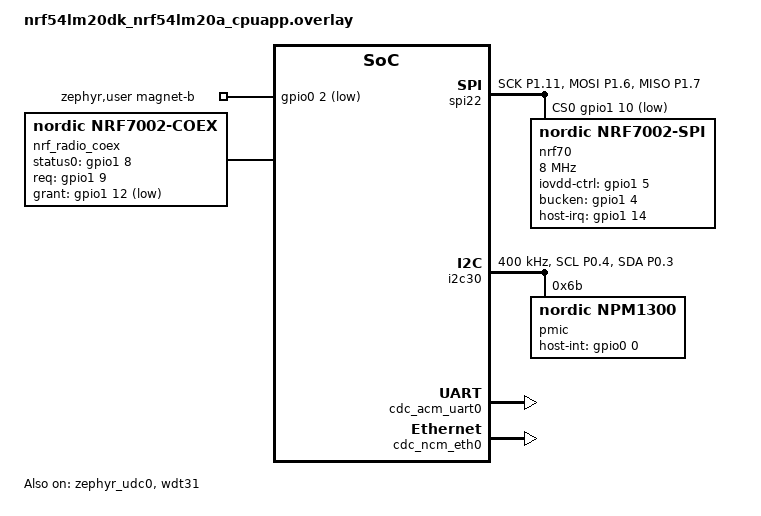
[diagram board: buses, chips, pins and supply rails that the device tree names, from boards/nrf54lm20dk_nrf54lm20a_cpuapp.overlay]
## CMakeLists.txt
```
# NIC-Strelka — Povodok's firmware: an nRF Connect SDK project on Zephyr, built with sysbuild for
# the nRF54LM20-DK, MCUboot beside it (FIRMWARE.md, The platform):
#
#     west build -b nrf54lm20dk/nrf54lm20a/cpuapp --sysbuild firmware/povodok
#
# Built against nRF Connect SDK v3.4.0 with Zephyr SDK 1.0.1, MCUboot beside it; not run on
# hardware: the kit decides it (../README.md).
cmake_minimum_required(VERSION 3.20.0)
# the shared Kconfig first, the unit's own after it, so that the unit's values win; a file given
# by -D<project>_EXTRA_CONF_FILE comes after both
set(CONF_FILE ${CMAKE_CURRENT_LIST_DIR}/../shared/common.conf ${CMAKE_CURRENT_LIST_DIR}/prj.conf)
find_package(Zephyr REQUIRED HINTS $ENV{ZEPHYR_BASE})
project(strelka_povodok LANGUAGES C)

set(COMMON ${CMAKE_CURRENT_LIST_DIR}/../common)
set(SHARED ${CMAKE_CURRENT_LIST_DIR}/../shared)
target_sources(app PRIVATE
  src/main.c
  ${SHARED}/clock.c
  ${SHARED}/crypto_psa.c
  ${SHARED}/light.c
  ${SHARED}/magnet.c
  ${SHARED}/usb.c
  ${SHARED}/gauge.c
  ${SHARED}/store.c
  ${SHARED}/pmic.c
  ${SHARED}/power.c
  ${SHARED}/strelka_mgmt_zephyr.c
  ${SHARED}/smp_tcp.c
  ${SHARED}/live_udp.c
  ${SHARED}/phone_net.c
  ${SHARED}/ble_prov.c
  ${COMMON}/crc32.c
  ${COMMON}/frame.c
  ${COMMON}/povodok_link.c
  ${COMMON}/live_msg.c
  ${COMMON}/frag.c
  ${COMMON}/smp.c
  ${COMMON}/strelka_mgmt.c
  ${COMMON}/fetch.c
  ${COMMON}/quat.c
  ${COMMON}/loop.c
)
target_include_directories(app PRIVATE src ${SHARED} ${COMMON})
# the fuel gauge's cell model: the SDK sample's, until the cell is profiled (shared/gauge.h)
target_include_directories(app PRIVATE ${ZEPHYR_NRF_MODULE_DIR}/samples/pmic/native/npm13xx_fuel_gauge/src)
```

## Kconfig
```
# NIC-Strelka — Povodok's own configuration options, beside Zephyr's
mainmenu "NIC-Strelka Povodok"

config STRELKA_FACTORY_PASSWORD
	string "the lock's password at the factory settings"
	default "strelka1"
	help
	  The application's password, eight characters at least (COMMANDS.md, The lock), as a
	  unit has it from the factory and after the factory settings, until the application
	  changes it by 64/17. The build's own choice; the firmware's default is provisional.

config STRELKA_CELL_EMPTY_MV
	int "The cell's end voltage, mV"
	default 3300
	help
	  Under it for ten seconds running, the unit goes off: a Li-ion or Li-poly cell at 3,30 V
	  until Povodok's cell is chosen. The fuel gauge's 0 % is not trusted until the cell's own
	  model is made (FIRMWARE.md, The PMIC).

source "Kconfig.zephyr"
```

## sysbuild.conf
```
# NIC-Strelka — sysbuild: MCUboot as the boot loader, two image slots, the images signed with the
# maker's key, which is not in the repository — given at the build:
#     west build ... -- -DSB_CONFIG_BOOT_SIGNATURE_KEY_FILE=\"/path/to/strelka.pem\"
SB_CONFIG_BOOTLOADER_MCUBOOT=y
SB_CONFIG_MCUBOOT_MODE_SWAP_USING_MOVE=y
SB_CONFIG_BOOT_SIGNATURE_TYPE_ED25519=y
```

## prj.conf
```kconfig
# NIC-Strelka — Povodok's own Zephyr configuration; what both units share is
# ../shared/common.conf (FIRMWARE.md). Built against nRF Connect SDK v3.4.0; not run on hardware.

# the Wi-Fi: the nRF7002 inside the WM02C20C, a station at 5 GHz, clear of the set's band;
# coexistence with the radio on the module's pins (FIRMWARE.md, The pins)
CONFIG_WIFI=y
CONFIG_WIFI_NRF70=y
CONFIG_NRF70_STA_MODE=y
CONFIG_NRF70_SR_COEX=y
CONFIG_WIFI_NM_WPA_SUPPLICANT=y
CONFIG_NET_L2_WIFI_MGMT=y
CONFIG_NET_L2_ETHERNET_MGMT=y
CONFIG_WIFI_CREDENTIALS=y
CONFIG_WIFI_CREDENTIALS_CONNECT_STORED=y
CONFIG_NET_MGMT_EVENT_INFO=y
CONFIG_NRF70_RX_NUM_BUFS=16
CONFIG_NRF_WIFI_CTRL_HEAP_SIZE=20000
CONFIG_NRF_WIFI_DATA_HEAP_SIZE=40000

# TCP/IP to the application, over the Wi-Fi and over USB alike (PHONE.md)
CONFIG_NETWORKING=y
CONFIG_NET_L2_ETHERNET=y
CONFIG_NET_IPV4=y
CONFIG_NET_IPV6=n
CONFIG_NET_TCP=y
# a peer gone without a FIN found by keep-alive, its connection's slot freed (shared/smp_tcp.c)
CONFIG_NET_TCP_KEEPALIVE=y
CONFIG_NET_UDP=y
CONFIG_NET_SOCKETS=y
CONFIG_NET_DHCPV4=y
CONFIG_NET_DHCPV4_SERVER=y
# found on the network by name, as printers are: mDNS and DNS-SD, the service _strelka._tcp on
# 1337, the instance named by the set and the number (PHONE.md, The link)
CONFIG_MDNS_RESPONDER=y
CONFIG_DNS_SD=y
CONFIG_NET_HOSTNAME_ENABLE=y
CONFIG_NET_HOSTNAME="strelka"
CONFIG_NET_HOSTNAME_UNIQUE=y
CONFIG_NET_CONNECTION_MANAGER=y
CONFIG_NET_MGMT=y
CONFIG_NET_MGMT_EVENT=y
CONFIG_NET_PKT_RX_COUNT=16
CONFIG_NET_PKT_TX_COUNT=16
CONFIG_NET_BUF_RX_COUNT=32
CONFIG_NET_BUF_TX_COUNT=32
# SMP over TCP: a listening socket for Povodok's own port and one for each Belka taken, up to
# 63, and eight connections at once (shared/smp_tcp.c)
CONFIG_NET_MAX_CONN=128
CONFIG_NET_MAX_CONTEXTS=128
CONFIG_ZVFS_OPEN_MAX=128
CONFIG_ZVFS_POLL_MAX=128
CONFIG_MCUMGR_TRANSPORT_NETBUF_COUNT=4

# the phone's USB: a network adapter, CDC-NCM, beside the serial port (FIRMWARE.md, USB)
CONFIG_USBD_CDC_NCM_CLASS=y

# Bluetooth LE in the first minutes after it is switched on alone, to receive the network's name
# and password, then off before ESB and the frame take the radio (FIRMWARE.md, The platform)
CONFIG_BT=y
CONFIG_BT_PERIPHERAL=y
CONFIG_BT_DEVICE_NAME="Strelka Povodok"
CONFIG_BT_SMP=y
CONFIG_BT_MAX_CONN=1
# a name and a password of 64 B each in one write: the ATT MTU past the default 23
CONFIG_BT_L2CAP_TX_MTU=247
CONFIG_BT_BUF_ACL_RX_SIZE=251
# MPSL whole for the controller, uninitialised by bt_disable(), so that the radio, TIMER10 and
# what else MPSL holds are free for ESB and the frame (FIRMWARE.md, The platform)
CONFIG_MPSL=y
CONFIG_MPSL_DYNAMIC_INTERRUPTS=y
CONFIG_BT_UNINIT_MPSL_ON_DISABLE=y

# the heap and the stacks for the network stacks
CONFIG_HEAP_MEM_POOL_SIZE=65536
CONFIG_MAIN_STACK_SIZE=8192
CONFIG_NET_TX_STACK_SIZE=4096
CONFIG_NET_RX_STACK_SIZE=4096
```

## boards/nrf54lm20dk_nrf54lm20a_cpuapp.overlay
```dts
/* NIC-Strelka — Povodok's pins on the nRF54LM20A, as FIRMWARE.md (The pins) and BOARD.md give
 * them: the board's own pins as the Belka's, and the WM02C20C's nRF7002 on P1.04–P1.14 inside
 * the module, as Fanstel's example wires it — the nRF54L15 DK's pinout, which the kit's own Wi-Fi
 * shield, the nRF7002-EB II, does not use, so the shield is repinned here. The node names follow
 * the SDK's shield file for the nRF7002-EB II. Built against nRF Connect SDK v3.4.0; not run on
 * hardware: the kit decides it.
 */

#include <zephyr/dt-bindings/gpio/nordic-nrf-gpio.h>

/ {
	chosen {
		zephyr,console = &cdc_acm_uart0;
		zephyr,shell-uart = &cdc_acm_uart0;
		zephyr,uart-mcumgr = &cdc_acm_uart0;
		zephyr,wifi = &wlan0;
	};

	aliases {
		watchdog0 = &wdt31;
	};

	zephyr,user {
		magnet-b-gpios = <&gpio0 2 (GPIO_ACTIVE_LOW | GPIO_PULL_UP)>;
	};

	/* the radio and the Wi-Fi sharing the air: the nRF7002's coexistence pins, as the SDK's
	 * shield nrf7002eb2 names them; status 1, P1.13, the SDK's driver does not read */
	nrf_radio_coex: coex {
		compatible = "nordic,nrf7002-coex";
		status = "okay";
		status0-gpios = <&gpio1 8 GPIO_ACTIVE_HIGH>;
		req-gpios = <&gpio1 9 GPIO_ACTIVE_HIGH>;
		grant-gpios = <&gpio1 12 (GPIO_PULL_DOWN | GPIO_ACTIVE_LOW)>;
	};
};

&pinctrl {
	/* the Wi-Fi: SPIM22 on P1.11 SCK, P1.06 MOSI, P1.07 MISO; CS P1.10 */
	spi22_default: spi22_default {
		group1 {
			psels = <NRF_PSEL(SPIM_SCK, 1, 11)>, <NRF_PSEL(SPIM_MOSI, 1, 6)>,
				<NRF_PSEL(SPIM_MISO, 1, 7)>;
		};
	};
	spi22_sleep: spi22_sleep {
		group1 {
			psels = <NRF_PSEL(SPIM_SCK, 1, 11)>, <NRF_PSEL(SPIM_MOSI, 1, 6)>,
				<NRF_PSEL(SPIM_MISO, 1, 7)>;
			low-power-enable;
		};
	};
	/* the PMIC: TWIM30 on P0.04 SCL, P0.03 SDA */
	i2c30_default: i2c30_default {
		group1 {
			psels = <NRF_PSEL(TWIM_SCL, 0, 4)>, <NRF_PSEL(TWIM_SDA, 0, 3)>;
		};
	};
	i2c30_sleep: i2c30_sleep {
		group1 {
			psels = <NRF_PSEL(TWIM_SCL, 0, 4)>, <NRF_PSEL(TWIM_SDA, 0, 3)>;
			low-power-enable;
		};
	};
};

&spi22 {
	status = "okay";
	pinctrl-0 = <&spi22_default>;
	pinctrl-1 = <&spi22_sleep>;
	pinctrl-names = "default", "sleep";
	cs-gpios = <&gpio1 10 GPIO_ACTIVE_LOW>;

	nrf70: nrf7002-spi@0 {
		compatible = "nordic,nrf7002-spi";
		status = "okay";
		reg = <0>;
		spi-max-frequency = <8000000>;
		iovdd-ctrl-gpios = <&gpio1 5 GPIO_ACTIVE_HIGH>;   /* the module's TCK127BG */
		bucken-gpios = <&gpio1 4 GPIO_ACTIVE_HIGH>;
		host-irq-gpios = <&gpio1 14 GPIO_ACTIVE_HIGH>;
		/* the powers the SDK's shield names, which the binding requires; the set's band is
		 * the radio's, the Wi-Fi at 5 GHz (FIRMWARE.md, The platform) */
		wifi-max-tx-pwr-2g-dsss = <21>;
		wifi-max-tx-pwr-2g-mcs0 = <16>;
		wifi-max-tx-pwr-2g-mcs7 = <16>;
		wifi-max-tx-pwr-5g-low-mcs0 = <13>;
		wifi-max-tx-pwr-5g-low-mcs7 = <13>;
		wifi-max-tx-pwr-5g-mid-mcs0 = <13>;
		wifi-max-tx-pwr-5g-mid-mcs7 = <13>;
		wifi-max-tx-pwr-5g-high-mcs0 = <12>;
		wifi-max-tx-pwr-5g-high-mcs7 = <12>;

		wlan0: wlan0 {
			compatible = "nordic,wlan";
		};
	};
};

&i2c30 {
	status = "okay";
	pinctrl-0 = <&i2c30_default>;
	pinctrl-1 = <&i2c30_sleep>;
	pinctrl-names = "default", "sleep";
	clock-frequency = <I2C_BITRATE_FAST>;

	/* the PMIC, Nordic's nPM1300 at 0x6B, its interrupt from GPIO0 to P0.00; its bucks unused
	 * on this board, VSET grounded; the long press of SHPHLD, magnet A, left as reset, 10 s to a
	 * power cycle (FIRMWARE.md, The PMIC; BOARD.md, U2) */
	pmic: pmic@6b {
		compatible = "nordic,npm1300";
		reg = <0x6b>;
		host-int-gpios = <&gpio0 0 GPIO_ACTIVE_HIGH>;
		pmic-int-pin = <0>;

		/* a Li-ion cell to 4,00 V, some 80 %; 200 mA until its cell is chosen; the USB input
		 * 1,5 A, the Wi-Fi's peaks and the charge within it */
		pmic_charger: charger {
			compatible = "nordic,npm1300-charger";
			term-microvolt = <4000000>;
			current-microamp = <200000>;
			dischg-limit-microamp = <1000000>;
			vbus-limit-microamp = <1500000>;
			thermistor-ohms = <10000>;
			thermistor-beta = <3380>;
			thermistor-cold-millidegrees = <0>;
			thermistor-cool-millidegrees = <10000>;
			thermistor-warm-millidegrees = <40000>;
			thermistor-hot-millidegrees = <45000>;
			charging-enable;
		};

		/* the regulators' parent, for ship mode alone */
		pmic_regulators: regulators {
			compatible = "nordic,npm1300-regulator";
		};
	};
};

/* the 32 MHz crystal's load at 14,5 pF on the module's board, the kit's 15 pF on the kit: as in
 * the Belka's overlay, commented out here */

/* USB: the serial port for the console and MCUboot's door, and the network adapter, CDC-NCM,
 * TCP/IP over it to the application as over the Wi-Fi (FIRMWARE.md, USB; PHONE.md) */
&zephyr_udc0 {
	status = "okay";

	cdc_acm_uart0: cdc_acm_uart0 {
		compatible = "zephyr,cdc-acm-uart";
	};

	cdc_ncm_eth0: cdc_ncm_eth0 {
		compatible = "zephyr,cdc-ncm-ethernet";
		/* the host's side of the link, as Zephyr's samples set it; the unit's own address
		 * and its bits are an open question (STATUS.md) */
		remote-mac-address = "00005E005301";
	};
};

/* the kit's console UART, uart20, is SERIAL20, the card's SPIM20's own instance: on the kit the
 * console is the USB port alone */
&uart20 {
	status = "disabled";
};

/* the kit's own SPI00 (P3.00, P3.01, P3.03) and PWM20 (P3.04) would take the pins of CLKIN, INT1
 * and both SCKs at their drivers' start: off */
&spi00 {
	status = "disabled";
};

&pwm20 {
	status = "disabled";
};

&wdt31 {
	status = "okay";
};

&gpio0 {
	status = "okay";
};

&gpio1 {
	status = "okay";
};
```

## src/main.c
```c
/* NIC-Strelka — Povodok: it commands the set, gathers it and talks to the phone (FIRMWARE.md).
 * The skeleton with the phone's side on it: the PMIC and the power, the light, the magnets, USB, the
 * clock for the set's grid; SMP over TCP on 1337 and 1337 + n with the lock on every connection
 * (shared/smp_tcp.c) and Strelka's group 64 (common/strelka_mgmt.c), its commands acting on the
 * link's logic (common/povodok_link.c) and on the settings kept across power-ons. The radio
 * itself — the SYNCs on the air, ESB to the Belkas — is shared/link.h, not written: the kit
 * decides it first, so what goes to the Belkas (the session, the table, the taking) waits here,
 * a Belka's port answers "out of reach", and the live view's messages (shared/live_udp.c) wait
 * for the link to call povodok_period_done. The phone's way in is shared/phone_net.c — the USB
 * network adapter with DHCP for the phone, the Wi-Fi joined with the name and password that
 * Bluetooth LE brought in the first minutes (shared/ble_prov.c). Built against nRF Connect SDK
 * v3.4.0, not run on hardware. */
#include <stdio.h>
#include <string.h>
#include <zephyr/dfu/mcuboot.h>
#include <zephyr/kernel.h>
#include <zephyr/drivers/hwinfo.h>
#include <zephyr/drivers/watchdog.h>
#include <zephyr/sys/reboot.h>
#include <zephyr/logging/log.h>
#include <zephyr/net/dns_sd.h>
#include "ble_prov.h"
#include "clock.h"
#include "crypto.h"
#include "gauge.h"
#include "light.h"
#include "pmic.h"
#include "power.h"
#include "link.h"
#include "live_msg.h"
#include "live_udp.h"
#include "magnet.h"
#include "phone_net.h"
#include "fetch.h"
#include "povodok_link.h"
#include "protocol.h"
#include "smp_tcp.h"
#include "store.h"
#include "strelka_mgmt_zephyr.h"
#include "usb.h"

LOG_MODULE_REGISTER(povodok, LOG_LEVEL_INF);

#define TABLE_MAX 4096                     /* the set's table's text held for the Belkas */

static uint64_t chip_id;
/* the set, the number 0–3 (0 the first by design), the password's hash and the gauge's
 * state: store.h's, kept across power-ons */
static uint8_t password_hash[32];          /* the kept one, or the factory's */

/* found on the network by name, as printers are (PHONE.md, The link): the service _strelka._tcp
 * on 1337, the instance "Strelka A1B2C3D4 P1" — the set's address and the Povodok's number from 1,
 * as written on its box — so that the application finds every Povodok of its set, the network's
 * way of gathering among them, without searching the addresses */
static char sd_instance[40] = "Strelka";
/* the service mode, from every start until the application's 64/20: Bluetooth LE on for the
 * network, the set's setting allowed; out of it, Bluetooth LE off and every setting refused with 6,
 * until the unit is switched off and on (FIRMWARE.md, The service mode) */
static bool service = true;
DNS_SD_REGISTER_TCP_SERVICE(strelka_sd, sd_instance, "_strelka", "local", DNS_SD_EMPTY_TXT,
			    SMP_PORT);
static struct povodok_link link;
static struct strelka_session session;     /* 64/1, to go to every Belka by the link */
static uint8_t table[TABLE_MAX];
static uint32_t table_len;
static bool measuring;                     /* the SYNC's state, bit 15: the record runs */

/* ---- the light's blink and the delayed deeds ------------------------------------------------ */

/* the standing pattern: Povodok's own, green and red in turn, the cell low off the cable; on the
 * cable the PMIC's only while it charges or its charger is at fault (FIRMWARE.md, The magnets and
 * the light) */
static enum light standing_light(void)
{
	switch (pmic_charge()) {
	case PMIC_CHARGING:
	case PMIC_CHARGE_FAULT:
		return LIGHT_CHARGER;
	case PMIC_OFF_CABLE:
		return gauge_pct() < 20 && gauge_present() ? LIGHT_RED_BLINK : LIGHT_GREEN_RED;
	default:
		return LIGHT_GREEN_RED;
	}
}

static void blink_over(struct k_work *w)
{
	ARG_UNUSED(w);
	light_set(standing_light());
}
static K_WORK_DELAYABLE_DEFINE(blink_work, blink_over);

static volatile bool go_off;

static void off_now(struct k_work *w)
{
	ARG_UNUSED(w);
	go_off = true;           /* main's thread takes it, off the system work queue */
}
static K_WORK_DELAYABLE_DEFINE(off_work, off_now);

/* the restart after the factory settings, or after a set given: the unit stays on (power.h) */
static bool factory_restart;

static void reboot_now(struct k_work *w)
{
	ARG_UNUSED(w);
	power_restart(factory_restart);
}
static K_WORK_DELAYABLE_DEFINE(reboot_work, reboot_now);

/* ---- the record's state, from the magnets and from the application --------------------------- */

static void set_record(bool run)
{
	if (run == measuring) {
		return;
	}
	measuring = run;
	povodok_link_record(&link, run);
	light_flash(run ? COLOUR_GREEN : COLOUR_RED, 2000);
}

/* ---- the live view to the phone, a message a period (PHONE.md) ------------------------------ */

/* the link calls it after the PASSes of a period, the gathering whole; one message or two */
void povodok_period_done(void)
{
	static struct live_msg msgs[LIVE_MSG_MESSAGES];
	unsigned n;

	if (service) {
		return;                          /* the live view is the work's, not the service's */
	}
	n = live_msg_from_link(&link, session.s, msgs);

	for (unsigned i = 0; i < n; i++) {
		live_udp_send(msgs[i].bytes, msgs[i].len);
	}
}

/* ---- Strelka's group 64, Povodok's side (COMMANDS.md) --------------------------------------- */

static int op_info(struct strelka_info *out, void *ctx)
{
	ARG_UNUSED(ctx);
	out->chip = chip_id;
	out->n = store.number;
	out->who = WHO_POVODOK;
	out->label = store.label;
	out->fw[0] = STRELKA_FW_MAJOR;
	out->fw[1] = STRELKA_FW_MINOR;
	out->fw[2] = STRELKA_FW_PATCH;
	out->cell_pct = gauge_pct();
	out->cell_mv = gauge_mv();
	out->temp_centi = gauge_temp_centi();
	out->state = measuring ? BELKA_RECORDING : BELKA_WAITING;
	return 0;
}

static int op_session(const struct strelka_session *s, void *ctx)
{
	ARG_UNUSED(ctx);
	if (measuring) {
		return SMP_ERR_BAD_STATE;        /* not while the set records */
	}
	session = *s;
	povodok_link_live(&link, service ? S0_LIVE_OFF : s->live);   /* on at 64/20 */
	/* the three ways of gathering (PRINCIPLE.md): by the set's radio, or by the network, every
	 * Povodok sending the application what it heard itself */
	povodok_link_gather(&link, s->net);
	povodok_link_units(&link, s->units_given ? s->units : NULL);
	/* with the period of the instant t, to every Belka by the link: to come */
	return 0;
}

static int op_blink(uint32_t seconds, void *ctx)
{
	ARG_UNUSED(ctx);
	if (seconds == 0) {
		k_work_cancel_delayable(&blink_work);
		light_set(standing_light());
		return 0;
	}
	light_set(LIGHT_ORANGE_FAST);
	k_work_reschedule(&blink_work, K_SECONDS(seconds));
	return 0;
}

static int op_off(void *ctx)
{
	ARG_UNUSED(ctx);
	/* recording, the set is stopped first — five SYNCs saying so — then off; the answer leaves
	 * before the board goes dark */
	set_record(false);
	k_work_reschedule(&off_work, K_MSEC(500));
	return 0;
}

/* 64/19: the set given to this Povodok by the application, its key opened under the write's own
 * lock (common/strelka_mgmt.c): kept, and the unit started again on it */
static int op_give(const struct strelka_give *g, void *ctx)
{
	struct store_set set = {
		.address = (uint32_t)g->addr[0] | (uint32_t)g->addr[1] << 8 |
			   (uint32_t)g->addr[2] << 16 | (uint32_t)g->addr[3] << 24,
		.channel = g->ch,
	};
	int rc;

	ARG_UNUSED(ctx);
	if (!service) {
		return SMP_ERR_BAD_STATE;        /* a setting: the service mode's alone */
	}
	if (measuring) {
		return SMP_ERR_BAD_STATE;        /* not while the set records */
	}
	memcpy(set.key, g->key, sizeof(set.key));
	rc = store_join(&set, g->n);
	if (rc == 0) {
		rc = store_label(g->label);
	}
	memset(&set, 0, sizeof(set));
	if (rc) {
		return SMP_ERR_UNKNOWN;
	}
	k_work_reschedule(&reboot_work, K_MSEC(500));
	return 0;
}

static int op_forget(void *ctx)
{
	ARG_UNUSED(ctx);
	if (!service) {
		return SMP_ERR_BAD_STATE;        /* a setting: the service mode's alone */
	}
	store_forget();                  /* the factory's password again */
	phone_net_forget();              /* the network's name and password */
	factory_restart = true;
	k_work_reschedule(&reboot_work, K_MSEC(2000));   /* after the orange's 2 s */
	return 0;
}

static struct fetch fetch;              /* 64/21's download, below */

/* the set on ESB or about to be: a download running, or its SYNCs not back yet */
static bool on_esb(void)
{
	return (fetch.on && !fetch_done(&fetch)) || link.awake || link.announcing || link.esb;
}

static int op_record(bool run, void *ctx)
{
	ARG_UNUSED(ctx);
	if (run && service) {
		return SMP_ERR_BAD_STATE;        /* the record is the work's: 64/20 first */
	}
	if (run && on_esb()) {
		return SMP_ERR_BAD_STATE;        /* the download out, the SYNCs back first */
	}
	set_record(run);
	return 0;
}

static int op_live(uint8_t code, void *ctx)
{
	ARG_UNUSED(ctx);
	if (code != S0_LIVE_OFF && service) {
		return SMP_ERR_BAD_STATE;        /* the live view is the work's: 64/20 first */
	}
	if (code != S0_LIVE_OFF && on_esb()) {
		return SMP_ERR_BAD_STATE;        /* the download out, the SYNCs back first */
	}
	session.live = code;
	povodok_link_live(&link, code);
	return 0;
}

static int op_search(bool run, void *ctx)
{
	ARG_UNUSED(ctx);
	if (!service) {
		return SMP_ERR_BAD_STATE;        /* a setting: the service mode's alone */
	}
	if (run && measuring) {
		return SMP_ERR_BAD_STATE;        /* searching, the first sends CALLs, no SYNCs */
	}
	povodok_link_search(&link, run);
	return 0;
}

static int op_found(struct strelka_found *list, unsigned max, unsigned *n, void *ctx)
{
	ARG_UNUSED(ctx);
	*n = 0;
	for (unsigned i = 0; i < link.found_n && *n < max; i++) {
		list[*n].chip = link.found[i].chip;
		list[*n].rssi = link.found[i].rssi;
		list[*n].ago_s = (link.period - link.found[i].period) / STRELKA_PERIODS_A_S;
		(*n)++;
	}
	return 0;
}

static int op_take(uint64_t chip, uint8_t n, void *ctx)
{
	ARG_UNUSED(ctx);
	if (!service) {
		return SMP_ERR_BAD_STATE;        /* a setting: the service mode's alone */
	}
	if (n < 1 || n > STRELKA_BELKAS_MAX ||
	    (link.belka[n].taken && link.belka[n].chip != chip)) {
		return SMP_ERR_INVAL;            /* a number is one unit's in the set, of any kind */
	}
	for (unsigned i = 0; i < link.found_n; i++) {
		if (link.found[i].chip == chip) {
			/* heard: the key agreed and the set given by SMP over ESB, 64/8 and 64/9 —
			 * the link's, to come; until then the Belka is out of reach */
			return STRELKA_RC(STRELKA_ERR_UNREACHABLE);
		}
	}
	return SMP_ERR_NOENT;
}

static int op_set(struct strelka_set *out, void *ctx)
{
	ARG_UNUSED(ctx);
	out->n = 0;
	for (unsigned k = 1; k <= STRELKA_BELKAS_MAX; k++) {
		const struct povodok_belka *b = &link.belka[k];
		struct strelka_set_belka *o = &out->belka[out->n];

		if (!b->taken) {
			continue;
		}
		o->n = (uint8_t)k;
		o->chip = b->chip;
		o->ago = link.period > b->last_period ? link.period - b->last_period : 0;
		o->by = b->by;
		if (b->item_known[ITEM_STATE]) {
			o->state = ITEM_HIGH(b->item[ITEM_STATE]);
			o->fault = ITEM_LOW(b->item[ITEM_STATE]);
		}
		o->rc_known = false;             /* 64/1's answers come with the frames over ESB */
		o->esb = povodok_link_esb_povodok(&link, (uint8_t)k);
		o->esb_known = o->esb != 0xFF;
		out->n++;
	}
	out->povodoks = (uint8_t)(1u << store.number);
	for (unsigned k = 0; k < STRELKA_POVODOKS_MAX; k++) {
		if (link.povodok_known[k] && link.tick - link.povodok_heard_tick[k] < LINK_PERIODS_A_S) {
			out->povodoks |= (uint8_t)(1u << k);
		}
	}
	out->ch = link.cfg.channel;
	out->spare = link.spare;
	return 0;
}

/* 64/21: the session from the Belkas, Povodok going round them over ESB, those answering on its
 * channel its own (common/fetch.c); the requests and the download's port, 1401, the link's, to
 * come with SMP over ESB */
static int op_fetch(const struct strelka_fetch *f, void *ctx)
{
	uint8_t every[STRELKA_BELKAS_MAX];
	unsigned n = 0;

	ARG_UNUSED(ctx);
	if (link.record || link.live_code != S0_LIVE_OFF) {
		return SMP_ERR_BAD_STATE;        /* ESB only while the set neither records nor shows */
	}
	if (fetch.on && !fetch_done(&fetch)) {
		return SMP_ERR_BUSY;             /* a download running */
	}
	if (f->n) {
		fetch_begin(&fetch, f->s, f->belka, f->from, f->n);
		return 0;
	}
	for (unsigned k = 1; k <= STRELKA_BELKAS_MAX; k++) {
		if (link.belka[k].taken) {
			every[n++] = (uint8_t)k;
		}
	}
	fetch_begin(&fetch, f->s, every, NULL, n);
	return 0;
}

/* 64/24: the set moved to a channel at the application's word, at rest alone */
static int op_move(uint8_t channel, void *ctx)
{
	ARG_UNUSED(ctx);
	if (measuring) {
		return SMP_ERR_BAD_STATE;
	}
	return povodok_link_move(&link, channel) ? SMP_ERR_INVAL : 0;
}

/* 64/23: what this Povodok knows already, of the band and of each Belka, for the diagnostics */
static int op_diag(uint32_t from, struct strelka_diag_band *band, struct strelka_diag_belka *list,
		   unsigned max, unsigned *n, bool *more, void *ctx)
{
	ARG_UNUSED(ctx);
	unsigned index = 0;

	*n = 0;
	*more = false;
	for (unsigned k = 1; k <= STRELKA_BELKAS_MAX; k++) {
		const struct povodok_belka *b = &link.belka[k];
		struct strelka_diag_belka *o;

		if (!b->taken || index++ < from) {
			continue;
		}
		if (*n == max) {
			*more = true;
			break;
		}
		o = &list[(*n)++];
		o->n = (uint8_t)k;
		o->rssi = b->rssi;
		o->ago = link.period > b->last_period ? link.period - b->last_period : 0;
		memcpy(o->item, b->item, sizeof(o->item));
		memcpy(o->known, b->item_known, sizeof(o->known));
	}
	band->ch = link.cfg.channel;
	band->spare = link.spare;
	for (unsigned k = 0; k < STRELKA_POVODOKS_MAX; k++) {
		band->margin[k] = k == store.number ? link.margin : link.margin_povodok[k];
	}
	memcpy(band->noise, link.noise_povodok, sizeof(band->noise));
	memcpy(band->bnoise, link.noise_belka, sizeof(band->bnoise));
	return 0;
}

static int op_drop(uint8_t n, void *ctx)
{
	ARG_UNUSED(ctx);
	if (!service) {
		return SMP_ERR_BAD_STATE;        /* a setting: the service mode's alone */
	}
	if (!link.belka[n].taken) {
		return SMP_ERR_NOENT;
	}
	povodok_link_drop(&link, n);
	return 0;
}

static int op_password_hash(uint8_t hash[32], void *ctx)
{
	ARG_UNUSED(ctx);
	memcpy(hash, password_hash, 32);
	return 0;
}

static int op_identity(uint8_t priv[32], void *ctx)
{
	ARG_UNUSED(ctx);
	return store_identity(priv);
}

static int op_password_set(const uint8_t hash[32], void *ctx)
{
	ARG_UNUSED(ctx);
	if (!service) {
		return SMP_ERR_BAD_STATE;        /* a setting: the service mode's alone */
	}
	memcpy(password_hash, hash, 32);
	return store_pw(hash) ? SMP_ERR_UNKNOWN : 0;
}

static int op_table(const struct strelka_table_piece *p, void *ctx)
{
	ARG_UNUSED(ctx);
	if (p->len > TABLE_MAX) {
		return SMP_ERR_TOO_LARGE;
	}
	if (p->off == 0) {
		memset(table, 0, sizeof(table));
		table_len = p->len;
	}
	memcpy(table + p->off, p->csv, p->csv_len);
	/* whole, to every Belka by the link: to come */
	return 0;
}

/* 64/20: out of the service mode — Bluetooth LE off by main's loop, the settings refused, the
 * Belkas' setting commands not bridged — until switched off and on */
static int op_work(void *ctx)
{
	ARG_UNUSED(ctx);
	if (service) {
		service = false;
		smp_tcp_service(false);
		ble_prov_stop_soon();
		povodok_link_live(&link, session.live);   /* the session's live view, if it asks one */
		LOG_INF("out of the service mode: at work");
	}
	return 0;
}

static const struct strelka_ops ops = {
	.info = op_info, .session = op_session, .blink = op_blink, .off = op_off,
	.forget = op_forget, .record = op_record, .live = op_live, .search = op_search,
	.found = op_found, .take = op_take, .set = op_set, .drop = op_drop, .diag = op_diag,
	.move = op_move,
	.password_hash = op_password_hash, .password_set = op_password_set, .table = op_table,
	.identity = op_identity,
	.give = op_give, .work = op_work, .fetch = op_fetch,
};

/* ---- the magnets ---------------------------------------------------------------------------- */

/* the factory settings by the magnets, in the service mode alone, as 64/7: 5 s of orange, fast,
 * that the hand sees the hold taken, then forgotten and started again at once */
static void factory_now(struct k_work *w)
{
	ARG_UNUSED(w);
	store_forget();
	phone_net_forget();
	factory_restart = true;
	k_work_reschedule(&reboot_work, K_NO_WAIT);
}
static K_WORK_DELAYABLE_DEFINE(factory_work, factory_now);

static void on_magnet(enum magnet_event e)
{
	switch (e) {
	case MAGNET_A_SHORT:
		light_show_cell(gauge_pct());
		break;
	case MAGNET_A_OFF:
		op_off(NULL);
		break;
	case MAGNET_FACTORY:
		if (!service) {
			light_flash(COLOUR_RED, 2000);  /* at work: switched off and on first */
			break;
		}
		light_set(LIGHT_ORANGE_FAST);
		k_work_reschedule(&factory_work, K_SECONDS(5));
		break;
	}
}

int main(void)
{
	const struct device *wdt = DEVICE_DT_GET(DT_ALIAS(watchdog0));
	struct wdt_timeout_cfg wdt_cfg = { .window.max = 5000, .flags = WDT_FLAG_RESET_SOC };
	struct povodok_link_cfg link_cfg;
	int wdt_ch;

	/* the PMIC, the settings kept and the gauge first: then whether Povodok is switched on —
	 * magnet A, or the cable — or switched off on the cable, which idles in power_start, or a
	 * magnet brushed past, which goes back into ship mode (FIRMWARE.md, The PMIC) */
	pmic_init();
	store_load();
	gauge_init(store.gauge_len ? store.gauge : NULL, store.gauge_len);
	light_init();
	power_start(true);
	hwinfo_get_device_id((uint8_t *)&chip_id, sizeof(chip_id));
	LOG_INF("Povodok, firmware %u.%u.%u, chip %016llx", STRELKA_FW_MAJOR, STRELKA_FW_MINOR,
		STRELKA_FW_PATCH, (unsigned long long)chip_id);
	if (store.pw_loaded) {
		memcpy(password_hash, store.pw, sizeof(password_hash));
	} else {
		/* the factory settings' password, the build's own, until the application changes it */
		strelka_sha256((const uint8_t *)CONFIG_STRELKA_FACTORY_PASSWORD,
			       strlen(CONFIG_STRELKA_FACTORY_PASSWORD), password_hash);
	}
	/* the name as a person reads it: the set's own number if it has one, the Povodok 1–4 —
	 * 0–3 inside — and the set's address, unique where two sets share a network */
	if (store.label) {
		snprintf(sd_instance, sizeof(sd_instance), "Strelka %u P%u %08X", store.label,
			 store.number + 1u, (unsigned int)store.set.address);
	} else {
		snprintf(sd_instance, sizeof(sd_instance), "Strelka P%u %08X", store.number + 1u,
			 (unsigned int)store.set.address);
	}
	link_cfg = (struct povodok_link_cfg){ .number = store.number,
					      .address = store.set.address,
					      .channel = store.set.channel };
	povodok_link_init(&link, &link_cfg);
	clock_init();                    /* the first Povodok's timer is the set's grid */
	usb_init();                      /* up when the stack sees VBUS: on the cable, at once */
	phone_net_init();                /* the lead's network with DHCP for the phone; the Wi-Fi kept */
	ble_prov_init();                 /* the network's name and password, the service mode */
	strelka_mgmt_zephyr_init(&ops, NULL);
	smp_tcp_init();                  /* the phone's side: 1337, and 1337 + n as Belkas are taken */
	live_udp_init();                 /* the live view to the phone, from povodok_period_done */
	magnet_init(on_magnet);
	light_set(standing_light());
	/* the watchdog last, after the start */
	wdt_ch = wdt_install_timeout(wdt, &wdt_cfg);
	wdt_setup(wdt, WDT_OPT_PAUSE_HALTED_BY_DBG);
	power_watchdog_taken();          /* fed by the loop from here; until now by power.c */
	/* a new image runs as a test until it confirms itself: the start whole and the watchdog
	 * running, it is kept; one that hangs before is taken back by MCUboot at the next reset
	 * (FIRMWARE.md, The firmware's own updates) */
	if (!boot_is_img_confirmed()) {
		boot_write_img_confirmed();
	}

	/* Povodok on its cable starts as by magnet A and runs on; off the cable it goes off 5 min
	 * after the cable left, unless the cable has come back — in its service mode with no phone
	 * joined alone, never at work nor with a phone on it, a set recording not stopped by a
	 * lead pulled out (FIRMWARE.md, The PMIC): the PMIC's VBUS says. The link's periods — povodok_link_period_begin and _end
	 * on the radio's timer — are shared/link.h's, to come */
	bool cable_seen = false;

	for (unsigned off_cable_s = 0;;) {
		bool taken[STRELKA_BELKAS_MAX + 1];
		static unsigned s;

		wdt_feed(wdt, wdt_ch);
		k_sleep(K_SECONDS(1));
		if (smp_tcp_joined()) {
			ble_prov_stop_soon();    /* a phone joined: the network given, the radio the set's */
		}
		povodok_link_downloads(&link, smp_tcp_joined());   /* the SYNC's bit 13 */
		ble_prov_poll();
		if (go_off) {
			power_off();     /* ship mode; on the cable, idle dark until it leaves */
		}
		gauge_service();
		if (++s % 3600 == 0) {
			power_keep();        /* the gauge's state once an hour */
		}
		/* the set's channel kept as the first moves it, so that a Povodok switched on later
		 * finds the set where it went (store.h) */
		store_channel(link.cfg.channel);
		/* the 5 min count only once a cable has been seen in this run: a Povodok switched on
		 * by magnet A off the cable runs on; no PMIC answering, the development kit's case,
		 * never off by itself */
		if (pmic_vbus() || !pmic_present()) {
			cable_seen = cable_seen || pmic_present();
			off_cable_s = 0;
		} else if (cable_seen && service && !smp_tcp_joined()) {
			off_cable_s++;
		} else {
			off_cable_s = 0;
		}
		if (off_cable_s == 5 * 60 || (gauge_empty() && !pmic_vbus())) {
			op_off(NULL);
		}
		light_set(standing_light());
		for (unsigned n = 0; n <= STRELKA_BELKAS_MAX; n++) {
			taken[n] = link.belka[n].taken;
		}
		smp_tcp_belka_ports(taken);
	}
	return 0;
}
```
